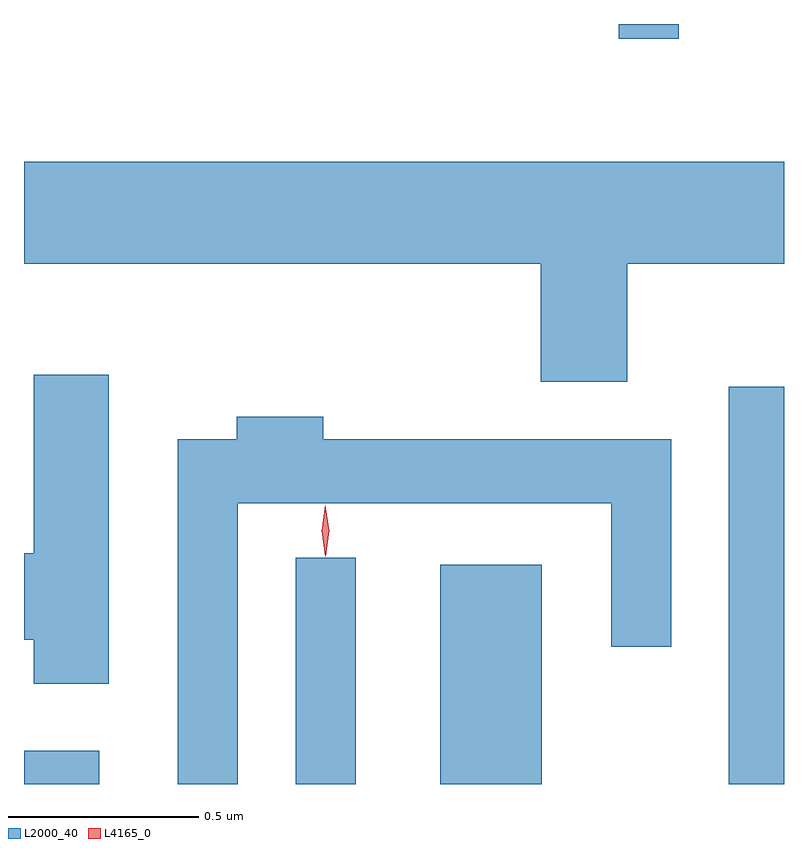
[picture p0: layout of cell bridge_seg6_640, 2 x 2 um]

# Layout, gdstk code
import gdstk
lib = gdstk.Library(unit=1e-6, precision=1e-09)
def R(c, l, rs):  # rectangles x0, y0, x1, y1
    for r in rs: c.add(gdstk.rectangle(r[:2], r[2:], *l))
def P(c, l, *ps):  # polygons
    for p in ps: c.add(gdstk.Polygon(p, *l))
L2000_40 = (2000, 40)
L4165_0 = (4165, 0)

bridge_seg6_640 = lib.new_cell('bridge_seg6_640')
R(bridge_seg6_640, L2000_40, [(541.241,1608.607,541.439,1608.694), (541.956,1608.607,542.114,1609.203), (542.336,1608.607,542.604,1609.184), (543.096,1608.607,543.241,1609.653), (542.806,1610.568,542.964,1610.607)])
P(bridge_seg6_640, L2000_40, [(542.829,1609.976),(543.241,1609.976),(543.241,1610.244),(541.241,1610.244),(541.241,1609.976),(542.601,1609.976),(542.601,1609.666),(542.829,1609.666)],
  [(541.464,1609.684),(541.266,1609.684),(541.266,1609.214),(541.241,1609.214),(541.241,1608.986),(541.266,1608.986),(541.266,1608.871),(541.464,1608.871)],
  [(541.804,1609.346),(542.786,1609.346),(542.786,1608.968),(542.944,1608.968),(542.944,1609.514),(542.029,1609.514),(542.029,1609.574),(541.801,1609.574),(541.801,1609.514),(541.646,1609.514),(541.646,1608.607),(541.804,1608.607)])
P(bridge_seg6_640, L4165_0, [(542.034,1609.207),(542.034,1609.207),(542.024,1609.274),(542.034,1609.34),(542.034,1609.34),(542.034,1609.34),(542.044,1609.274),(542.035,1609.207)])

lib.write_gds('bridge_seg6_640.gds')
